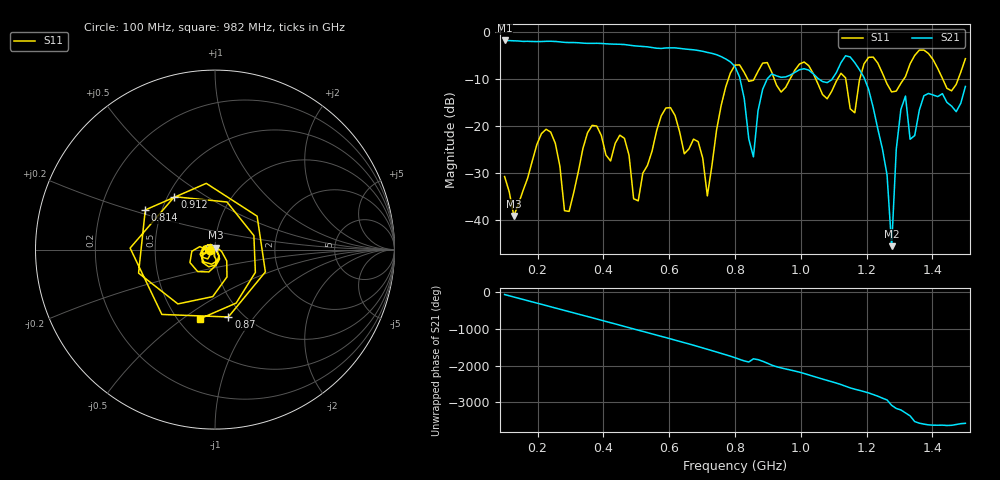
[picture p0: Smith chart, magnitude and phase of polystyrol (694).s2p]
! NanoVNA-App
! Date: 2025-09-25 15:35:17
! Start: 100MHz Stop: 1,5GHz Points: 101
! S-Parameter data: F S11 S21 S12 S22
# Hz S RI R 50
!  Frequency  S11_Real  S11_Imag  S21_Real  S21_Imag  S12_Real  S12_Imag  S22_Real  S22_Imag
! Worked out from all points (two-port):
!   101 points, 100 MHz to 1.5 GHz, reference 50 ohm
!   highest |S21| = -1.80 dB at 100 MHz (marker M1); lowest = -45.5 dB at 1.276 GHz (marker M2)
!   |S21| within 3 dB of the highest: start of sweep to 742.8 MHz
!   lowest |S11| = -39.0 dB at 128 MHz (marker M3), VSWR 1.02, Z = 50.3 + j1.07 ohm
!   |S11| at or under -10 dB: start of sweep to 779.8 MHz; 1.045 GHz to 1.112 GHz (66.16 MHz wide, 6.13 % of centre); 1.256 GHz to 1.313 GHz (57.16 MHz wide, 4.45 % of centre) (the widest 3 of 7)
!   S12 and S22 are empty: the file has one direction only
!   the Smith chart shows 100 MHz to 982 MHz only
!   S11 on the Smith chart (normalised r, x): 100 MHz: 0.94, -0.01; 814 MHz: 0.40, +0.22; 870 MHz: 0.86, -0.75; 912 MHz: 0.54, +0.37; 982 MHz: 0.64, -0.58
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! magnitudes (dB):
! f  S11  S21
! 100 MHz  -30.7  -1.8
! 128 MHz  -39.0  -1.9
! 212 MHz  -21.6  -2.0
! 282 MHz  -38.0  -2.2
! 338 MHz  -24.7  -2.4
! 464 MHz  -22.6  -2.7
! 506 MHz  -35.9  -3.0
! 576 MHz  -17.8  -3.5
! 716 MHz  -34.8  -4.3
! 800 MHz  -7.0  -7.3
! 814 MHz  -7.0  -9.6
! 856 MHz  -10.3  -26.5
! 870 MHz  -8.3  -16.7
! 912 MHz  -8.6  -8.9
! 982 MHz  -8.1  -8.6
! 1.038 GHz  -8.9  -8.9
! 1.164 GHz  -17.2  -6.5
! 1.192 GHz  -6.8  -9.7
! 1.276 GHz  -12.7  -45.5
! 1.29 GHz  -12.5  -24.9
! 1.318 GHz  -9.5  -13.6
! 1.5 GHz  -5.7  -11.6
